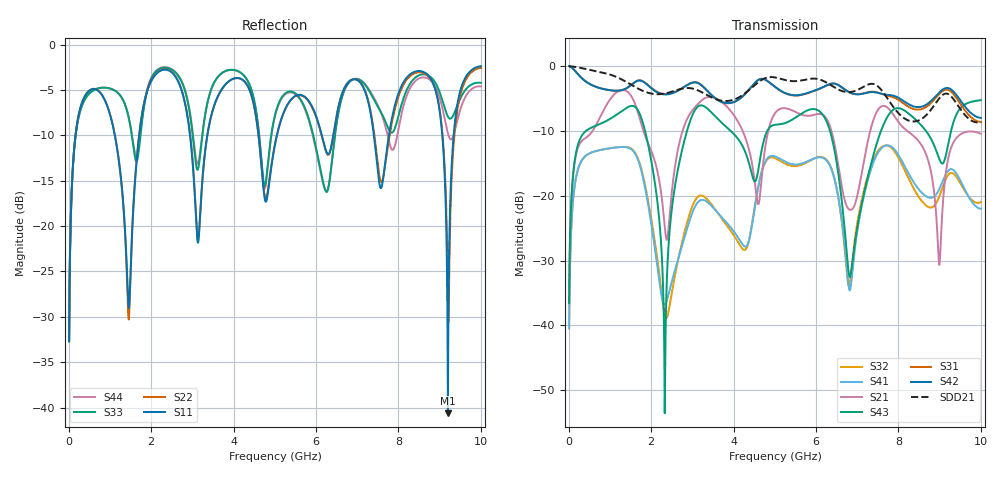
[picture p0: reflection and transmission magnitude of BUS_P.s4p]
! kisi 0.3.3: S-parameters of lane BUS_P (kisi's channel model of the board)
! board board.kicad_pcb
! subcircuit BUS_P_lane (pair: P and N on their own paths, coupled sections in modal form)
! port 1 (ap): P BUS_P at U1.6 (transmitter end)
! port 2 (an): N BUS_N at U1.7 (transmitter end)
! port 3 (bp): P BUS_P at U2.6 (receiver end)
! port 4 (bn): N BUS_N at U2.7 (receiver end)
! track length 55.75 mm, delay 315.3 ps, reference 50.00 ohm per port
! mixed mode with this order: differential port 1 = (port 1 - port 2)/sqrt(2), port 2 = (port 3 - port 4)/sqrt(2)
! the receiver's termination resistors are not included (they act as the receiver's termination)
! stackup: 2 copper layers, 1.49 mm, er and tand at 1 GHz; from board file (layer by layer in the README)
!  layers (um): F.Cu 30 / 1430 er 4.42 tand 0.02 / B.Cu 30
# HZ S RI R 5.000000e1
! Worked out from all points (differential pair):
!   1000 points, 10 MHz to 10 GHz, reference 50 ohm
!   strongest paths, dB at 10 MHz, 2.51 GHz, 5.01 GHz, 7.51 GHz, 10 GHz:
!     S42: 0.0, -4.2, -3.2, -4.2, -8.0
!     S31: 0.0, -4.2, -3.3, -4.1, -8.6
!     S43: -36.5, -21.6, -9.1, -11.2, -5.3
!     S21: -36.5, -18.9, -7.2, -6.7, -10.4
!     S41: -40.4, -33.0, -13.9, -13.3, -22.0
!     S32: -40.4, -34.6, -14.2, -13.1, -21.0
!   taken as a pair (ports 2,1 in; 4,3 out), SDD21 dB: 0.0, -3.9, -1.8, -3.2, -8.6
!   lowest |S11| = -40.6 dB at 9.2 GHz (marker M1), VSWR 1.02, Z = 49.1 - j0.0866 ohm
!   |S11| at or under -10 dB: 1.12 GHz to 1.711 GHz (590.5 MHz wide, 41.7 % of centre); 2.944 GHz to 3.362 GHz (418.8 MHz wide, 13.3 % of centre); 4.605 GHz to 5.052 GHz (446.4 MHz wide, 9.24 % of centre)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
1e7  0.00335 0.0229  0.000684 0.0149  0.9964 -0.0344  -0.000595 -0.00949
     0.000684 0.0149  0.00337 0.023  -0.000596 -0.00949  0.9964 -0.0345
     0.9964 -0.0344  -0.000596 -0.00949  0.00333 0.0229  0.000807 0.0149
     -0.000595 -0.00949  0.9964 -0.0345  0.000807 0.0149  0.00334 0.023
1.62e9  0.027 0.1882  0.2953 -0.403  -0.7517 0.0945  -0.1161 -0.1735
        0.2953 -0.403  0.0227 0.1932  -0.123 -0.1731  -0.7488 0.0983
        -0.7517 0.0945  -0.123 -0.1731  0.2308 -0.0294  -0.4164 -0.2415
        -0.1161 -0.1735  -0.7488 0.0983  -0.4164 -0.2415  0.245 -0.0225
2.33e9  0.7255 0.0564  0.042 -0.04  0.0401 0.6066  0.0101 -0.0103
        0.042 -0.04  0.7291 0.0568  0.0106 -0.00594  0.0394 0.6024
        0.0401 0.6066  0.0106 -0.00594  0.7332 -0.142  0.00186 0.000971
        0.0101 -0.0103  0.0394 0.6024  0.00186 0.000971  0.7373 -0.1419
3.15e9  -0.0798 0.0255  0.5152 0.0184  0.7167 -0.1725  0.0775 -0.046
        0.5152 0.0184  -0.0829 0.0218  0.0873 -0.0466  0.7158 -0.1682
        0.7167 -0.1725  0.0873 -0.0466  0.2077 -0.038  -0.4218 0.2506
        0.0775 -0.046  0.7158 -0.1682  -0.4218 0.2506  0.2209 -0.0479
4.67e9  0.1769 -0.1375  -0.0269 0.1223  -0.7954 0.00614  -0.0264 0.1459
        -0.0269 0.1223  0.1805 -0.1323  -0.035 0.1444  -0.7961 0.00609
        -0.7954 0.00614  -0.035 0.1444  0.0593 -0.2318  0.0502 0.2084
        -0.0264 0.1459  -0.7961 0.00609  0.0502 0.2084  0.0541 -0.2297
9.2e9  -0.00925 -0.000882  0.179 -0.0605  0.5937 -0.2763  0.1363 0.0738
       0.179 -0.0605  0.0329 -0.0237  0.0976 0.1054  0.6211 -0.2678
       0.5937 -0.2763  0.0976 0.1054  0.1199 -0.3825  0.0568 0.2369
       0.1363 0.0738  0.6211 -0.2678  0.0568 0.2369  0.0732 -0.3162
1e10  0.7545 0.0947  0.0341 -0.2987  -0.2061 -0.3071  0.0402 -0.0685
      0.0341 -0.2987  0.7379 0.0952  0.0669 -0.0592  -0.2222 -0.3301
      -0.2061 -0.3071  0.0669 -0.0592  0.1246 -0.6026  0.5283 0.1364
      0.0402 -0.0685  -0.2222 -0.3301  0.5283 0.1364  0.1615 -0.5656
